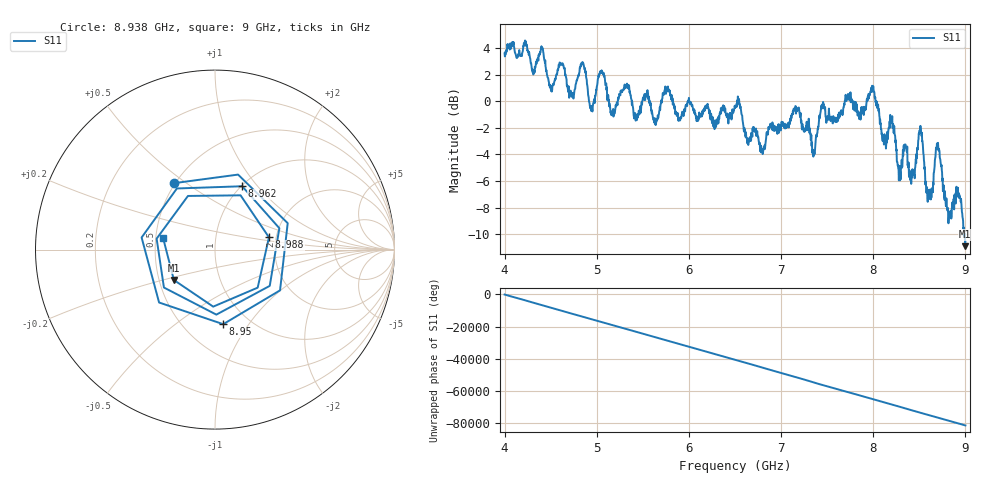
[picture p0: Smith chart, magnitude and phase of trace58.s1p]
! Created with skrf 1.8.0 (http://scikit-rf.org).
# Hz S RI R 50.0
!freq ReS11 ImS11
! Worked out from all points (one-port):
!   1601 points, 4 GHz to 9 GHz, reference 50 ohm
!   lowest |S11| = -10.9 dB at 8.997 GHz (marker M1), VSWR 1.80, Z = 29.9 - j11 ohm
!   |S11| at or under -10 dB: 8.986742 GHz to 8.990323 GHz (3.581 MHz wide, 0.0398 % of centre); 8.994149 GHz to end of sweep
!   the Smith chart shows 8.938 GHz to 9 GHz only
!   S11 on the Smith chart (normalised r, x): 8.938 GHz: 0.49, +0.45; 8.95 GHz: 0.76, -0.77; 8.962 GHz: 1.01, +0.84; 8.988 GHz: 1.83, +0.28; 9 GHz: 0.55, +0.08
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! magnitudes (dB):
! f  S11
! 4 GHz  3.6
! 4.625 GHz  2.8
! 4.725 GHz  0.5
! 4.85 GHz  2.8
! 4.941 GHz  -0.7
! 5.05 GHz  2.2
! 5.166 GHz  -1.0
! 5.25 GHz  0.5
! 5.875 GHz  -1.0
! 6.5 GHz  -0.5
! 6.797 GHz  -3.7
! 7.125 GHz  -1.0
! 7.356 GHz  -3.8
! 7.45 GHz  -0.2
! 7.75 GHz  0.3
! 7.991 GHz  1.0
! 8.116 GHz  -3.3
! 8.375 GHz  -4.8
! 8.512 GHz  -1.9
! 8.6 GHz  -7.3
! 8.7 GHz  -3.2
! 8.822 GHz  -8.6
! 8.938 GHz  -7.2
! 8.95 GHz  -7.6
! 8.962 GHz  -8.3
! 8.988 GHz  -10.2
! 8.997 GHz  -10.9
! 9 GHz  -10.6
